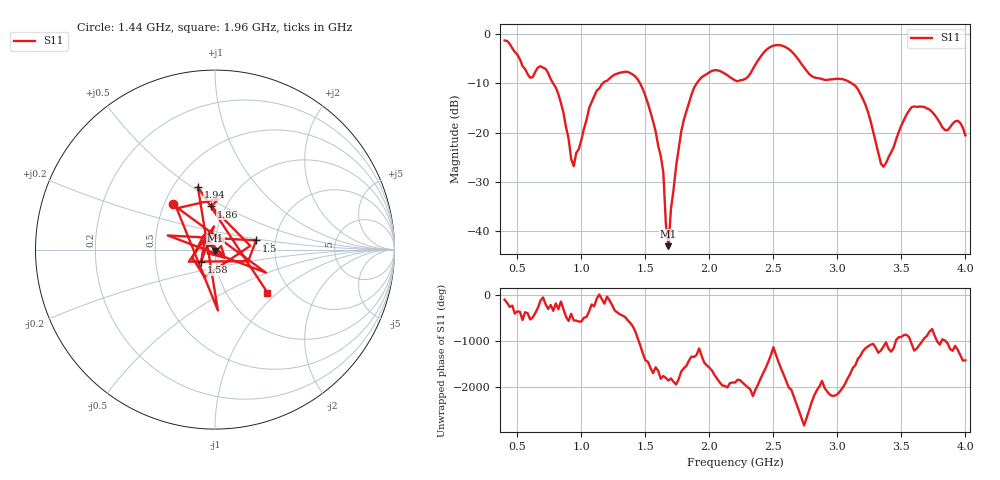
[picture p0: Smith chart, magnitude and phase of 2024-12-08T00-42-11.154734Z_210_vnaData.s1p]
!Created with skrf (http://scikit-rf.org).
# Hz S RI R 50.0
!freq ReS11 ImS11
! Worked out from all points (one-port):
!   181 points, 400 MHz to 4 GHz, reference 50 ohm
!   lowest |S11| = -43.0 dB at 1.68 GHz (marker M1), VSWR 1.01, Z = 50.2 - j0.666 ohm
!   |S11| at or under -10 dB: 778.1 MHz to 1.169 GHz (390.4 MHz wide, 40.1 % of centre); 1.457 GHz to 1.902 GHz (444.8 MHz wide, 26.5 % of centre); 3.109 GHz to end of sweep
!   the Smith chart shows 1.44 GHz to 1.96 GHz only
!   S11 on the Smith chart (normalised r, x): 1.44 GHz: 0.55, +0.32; 1.5 GHz: 1.58, +0.17; 1.58 GHz: 0.85, -0.12; 1.86 GHz: 0.86, +0.44; 1.94 GHz: 0.66, +0.53; 1.96 GHz: 1.54, -0.86
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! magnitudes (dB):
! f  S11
! 400 MHz  -1.4
! 600 MHz  -8.9
! 720 MHz  -7.1
! 860 MHz  -16.0
! 940 MHz  -26.8
! 1.12 GHz  -11.5
! 1.3 GHz  -7.9
! 1.44 GHz  -9.2
! 1.5 GHz  -12.6
! 1.58 GHz  -19.8
! 1.64 GHz  -28.1
! 1.66 GHz  -38.5
! 1.68 GHz  -43.0
! 1.7 GHz  -35.4
! 1.76 GHz  -23.3
! 1.86 GHz  -12.3
! 1.94 GHz  -8.8
! 1.96 GHz  -8.5
! 2.2 GHz  -9.4
! 2.48 GHz  -2.6
! 2.66 GHz  -4.1
! 2.8 GHz  -8.6
! 3.1 GHz  -9.8
! 3.22 GHz  -14.4
! 3.36 GHz  -26.9
! 3.56 GHz  -15.6
! 3.94 GHz  -17.6
! 4 GHz  -20.6
